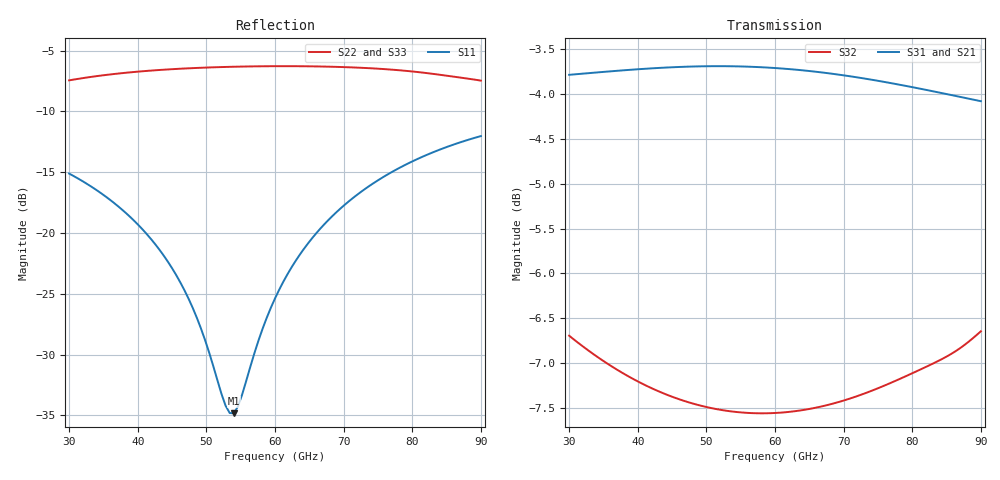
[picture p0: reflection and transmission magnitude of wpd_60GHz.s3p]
#  GHZ S DB R 50
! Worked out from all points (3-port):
!   101 points, 30 GHz to 90 GHz, reference 50 ohm
!   strongest paths, dB at 30 GHz, 45 GHz, 60 GHz, 75 GHz, 90 GHz:
!     S31: -3.8, -3.7, -3.7, -3.9, -4.1
!     S21: -3.8, -3.7, -3.7, -3.9, -4.1
!     S32: -6.7, -7.4, -7.6, -7.3, -6.6
!   lowest |S11| = -34.8 dB at 54 GHz (marker M1), VSWR 1.04, Z = 51.8 - j0.0995 ohm
!   |S11| at or under -10 dB: start of sweep to end of sweep
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30  -15.12 127.0  -3.79 -45.5  -3.78 -45.5
    -3.79 -45.5  -7.45 44.3  -6.70 -99.4
    -3.78 -45.5  -6.70 -99.4  -7.46 44.3
37.8  -18.12 112.0  -3.74 -57.6  -3.73 -57.6
      -3.74 -57.6  -6.86 28.7  -7.11 -121.5
      -3.73 -57.6  -7.11 -121.5  -6.87 28.6
43.8  -21.88 97.7  -3.71 -67.1  -3.70 -67.0
      -3.71 -67.1  -6.58 18.3  -7.34 -138.1
      -3.70 -67.0  -7.34 -138.1  -6.59 18.2
48  -26.15 82.4  -3.70 -73.7  -3.69 -73.7
    -3.70 -73.7  -6.45 11.5  -7.45 -149.6
    -3.69 -73.7  -7.45 -149.6  -6.46 11.5
52.8  -34.21 28.5  -3.69 -81.4  -3.69 -81.4
      -3.69 -81.4  -6.35 4.2  -7.53 -162.6
      -3.69 -81.4  -7.53 -162.6  -6.36 4.2
54  -34.83 -3.0  -3.69 -83.3  -3.69 -83.3
    -3.69 -83.3  -6.33 2.4  -7.54 -165.9
    -3.69 -83.3  -7.54 -165.9  -6.35 2.4
60  -25.39 -76.2  -3.71 -93.0  -3.71 -93.0
    -3.71 -93.0  -6.29 -6.6  -7.56 177.8
    -3.71 -93.0  -7.56 177.8  -6.30 -6.6
64.8  -20.87 -92.1  -3.75 -100.6  -3.74 -100.6
      -3.75 -100.6  -6.30 -13.8  -7.52 164.7
      -3.74 -100.6  -7.52 164.7  -6.31 -13.8
71.4  -17.11 -106.8  -3.81 -111.2  -3.81 -111.2
      -3.81 -111.2  -6.39 -24.2  -7.39 146.4
      -3.81 -111.2  -7.39 146.4  -6.40 -24.1
90  -12.04 -139.1  -4.08 -140.0  -4.08 -140.0
    -4.08 -140.0  -7.47 -59.5  -6.65 93.2
    -4.08 -140.0  -6.65 93.2  -7.48 -59.5
